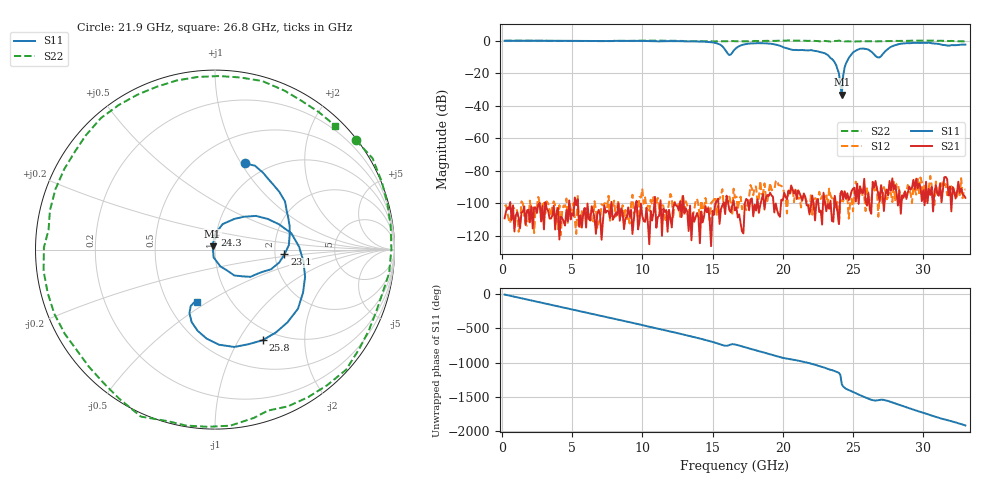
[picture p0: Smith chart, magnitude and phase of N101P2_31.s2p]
# GHZ S RI R 50
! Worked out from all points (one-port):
!   329 points, 200 MHz to 33 GHz, reference 50 ohm
!   lowest |S11| = -33.2 dB at 24.2 GHz (marker M1), VSWR 1.04, Z = 48.7 + j1.69 ohm
!   |S11| at or under -10 dB: 23.34 GHz to 24.75 GHz (1.411 GHz wide, 5.87 % of centre); 26.7 GHz to 26.93 GHz (232.6 MHz wide, 0.867 % of centre)
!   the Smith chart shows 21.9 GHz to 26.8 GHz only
!   S11 on the Smith chart (normalised r, x): 21.9 GHz: 0.80, +1.04; 23.1 GHz: 2.26, -0.14; 24.3 GHz: 0.98, +0.17; 25.8 GHz: 0.85, -1.27; 26.8 GHz: 0.70, -0.45
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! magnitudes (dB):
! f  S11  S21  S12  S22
! 200 MHz  0.0  -109.3  -101.7  0.0
! 5.7 GHz  -0.2  -115.0  -104.9  -0.2
! 11.2 GHz  -0.4  -107.7  -103.4  0.1
! 15.2 GHz  -1.3  -100.2  -96.0  -0.3
! 16.2 GHz  -8.8  -104.3  -96.0  -0.3
! 16.6 GHz  -5.2  -104.5  -96.6  -0.3
! 17.2 GHz  -2.3  -118.6  -100.3  -0.3
! 18.8 GHz  -1.5  -97.0  -96.7  0.0
! 21.9 GHz  -5.9  -106.9  -106.2  -0.1
! 22.1 GHz  -5.9  -95.3  -107.1  0.0
! 23.1 GHz  -8.2  -105.0  -95.3  -0.2
! 23.8 GHz  -14.9  -100.8  -102.0  -0.1
! 24 GHz  -20.1  -112.9  -113.4  0.2
! 24.2 GHz  -33.2  -92.5  -98.2  -0.3
! 24.3 GHz  -21.5  -97.7  -99.0  -0.4
! 24.5 GHz  -13.9  -97.4  -95.2  -0.4
! 24.8 GHz  -9.4  -96.1  -99.1  -0.3
! 25.8 GHz  -4.9  -85.0  -96.3  -0.3
! 26.8 GHz  -10.3  -94.0  -108.3  -0.3
! 27.6 GHz  -4.3  -86.3  -93.9  -0.2
! 29.4 GHz  -1.2  -91.3  -91.8  -0.1
! 33 GHz  -2.4  -96.7  -91.6  -0.4
